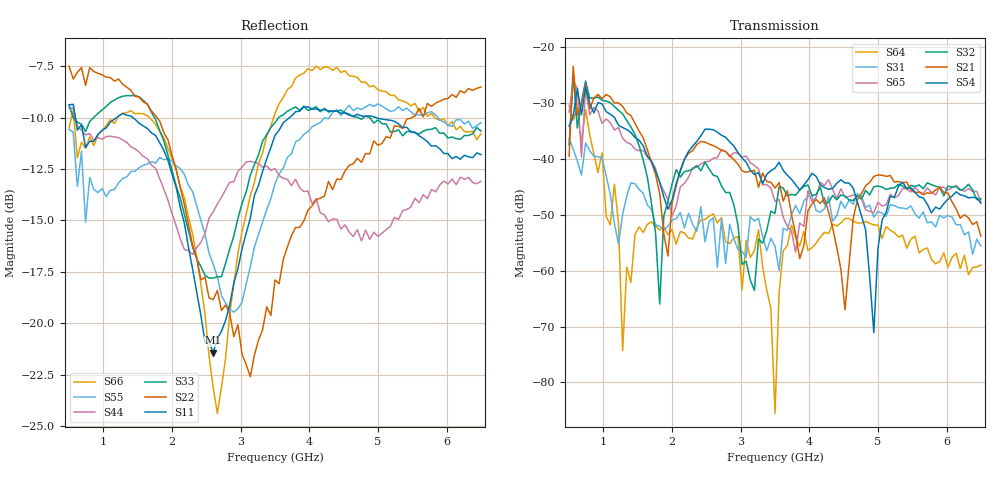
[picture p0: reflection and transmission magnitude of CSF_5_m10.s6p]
!Keysight Technologies,M9804A,MY58100912,A.14.10.03
!Date: Thursday, April 27, 2023 10:28:33
!Correction: S11(C  6-Port  )
!S12(C  6-Port  )
!S13(C  6-Port  )
!S14(C  6-Port  )
!S15(C  6-Port  )
!S16(C  6-Port  )
!S21(C  6-Port  )
!S22(C  6-Port  )
!S23(C  6-Port  )
!S24(C  6-Port  )
!S25(C  6-Port  )
!S26(C  6-Port  )
!S31(C  6-Port  )
!S32(C  6-Port  )
!S33(C  6-Port  )
!S34(C  6-Port  )
!S35(C  6-Port  )
!S36(C  6-Port  )
!S41(C  6-Port  )
!S42(C  6-Port  )
!S43(C  6-Port  )
!S44(C  6-Port  )
!S45(C  6-Port  )
!S46(C  6-Port  )
!S51(C  6-Port  )
!S52(C  6-Port  )
!S53(C  6-Port  )
!S54(C  6-Port  )
!S55(C  6-Port  )
!S56(C  6-Port  )
!S61(C  6-Port  )
!S62(C  6-Port  )
!S63(C  6-Port  )
!S64(C  6-Port  )
!S65(C  6-Port  )
!S66(C  6-Port  )
!S6P File: Measurement: :
# Hz S  RI  R 50
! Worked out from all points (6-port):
!   101 points, 500 MHz to 6.5 GHz, reference 50 ohm
!   strongest paths, dB at 500 MHz, 2 GHz, 3.5 GHz, 5 GHz, 6.5 GHz:
!     S54: -34.1, -47.4, -41.6, -56.1, -47.9
!     S21: -39.5, -47.9, -45.2, -42.9, -53.8
!     S32: -37.4, -44.5, -49.8, -44.8, -47.1
!     S65: -31.6, -50.2, -47.6, -47.8, -47.7
!     S31: -36.3, -51.0, -55.6, -49.4, -55.6
!     S64: -30.4, -52.6, -85.5, -51.8, -59.0
!   lowest |S11| = -21.4 dB at 2.6 GHz (marker M1), VSWR 1.19, Z = 42.5 + j2.16 ohm
!   |S11| at or under -10 dB: 590.9 MHz to 1.191 GHz (600 MHz wide, 67.4 % of centre); 1.429 GHz to 3.712 GHz (2.283 GHz wide, 88.8 % of centre); 4.972 GHz to end of sweep
